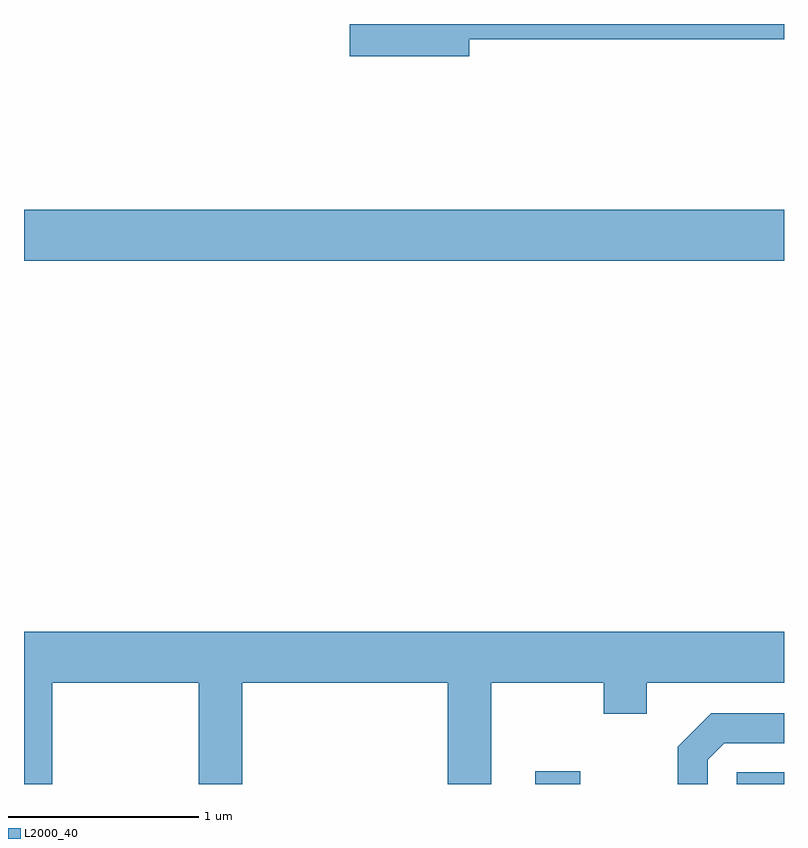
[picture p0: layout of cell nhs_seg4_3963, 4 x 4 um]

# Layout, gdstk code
import gdstk
lib = gdstk.Library(unit=1e-6, precision=1e-09)
def R(c, l, rs):  # rectangles x0, y0, x1, y1
    for r in rs: c.add(gdstk.rectangle(r[:2], r[2:], *l))
def P(c, l, *ps):  # polygons
    for p in ps: c.add(gdstk.Polygon(p, *l))
L2000_40 = (2000, 40)

nhs_seg4_3963 = lib.new_cell('nhs_seg4_3963')
R(nhs_seg4_3963, L2000_40, [(304.301,1291.982,304.538,1292.049), (305.361,1291.982,305.611,1292.044), (301.611,1294.736,305.611,1295.004)])
P(nhs_seg4_3963, L2000_40, [(303.954,1295.901),(305.611,1295.901),(305.611,1295.982),(303.326,1295.982),(303.326,1295.811),(303.954,1295.811)],
  [(301.759,1292.516),(302.531,1292.516),(302.531,1291.982),(302.759,1291.982),(302.759,1292.516),(303.841,1292.516),(303.841,1291.982),(304.069,1291.982),(304.069,1292.516),(304.661,1292.516),(304.661,1292.351),(304.889,1292.351),(304.889,1292.516),(305.611,1292.516),(305.611,1292.784),(301.611,1292.784),(301.611,1291.982),(301.759,1291.982)],
  [(305.209,1292.109),(305.297,1292.196),(305.611,1292.196),(305.611,1292.354),(305.229,1292.354),(305.051,1292.177),(305.051,1291.982),(305.209,1291.982)])

lib.write_gds('nhs_seg4_3963.gds')
